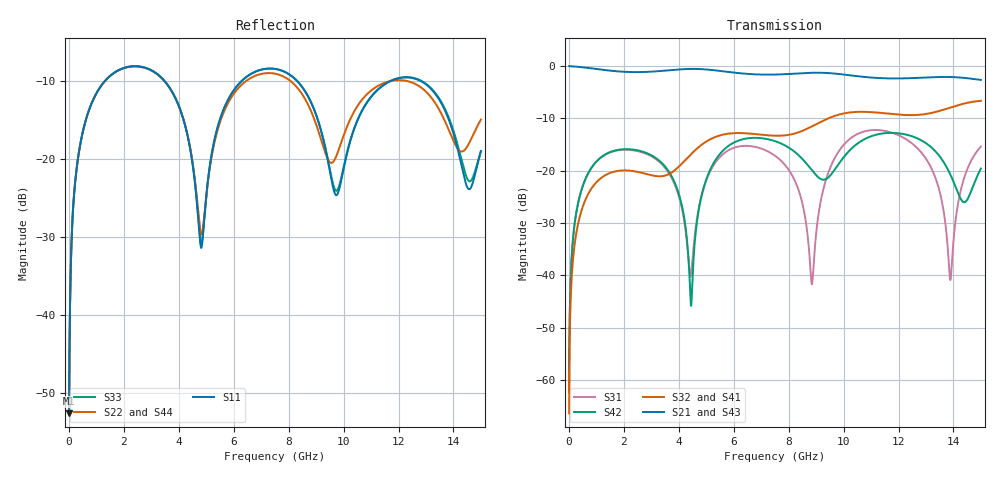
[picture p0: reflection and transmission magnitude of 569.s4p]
! Created with skrf 1.8.0 (http://scikit-rf.org).
# GHz S RI R 50.0
!freq ReS11 ImS11 ReS12 ImS12 ReS13 ImS13
! ReS14 ImS14
! ReS21 ImS21 ReS22 ImS22 ReS23 ImS23
! ReS24 ImS24
! ReS31 ImS31 ReS32 ImS32 ReS33 ImS33
! ReS34 ImS34
! ReS41 ImS41 ReS42 ImS42 ReS43 ImS43
! ReS44 ImS44
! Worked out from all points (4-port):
!   2499 points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, 5 MHz to 15 GHz, reference 50 ohm
!   strongest paths, dB at 5 MHz, 3.476 GHz, 7.19 GHz, 11.1 GHz, 15 GHz:
!     S21: 0.0, -0.9, -1.6, -2.2, -2.6
!     S43: 0.0, -0.9, -1.6, -2.2, -2.6
!     S32: -66.4, -21.0, -13.2, -8.8, -6.6
!     S41: -66.4, -21.0, -13.2, -8.8, -6.6
!     S42: -62.4, -19.1, -13.9, -13.3, -19.6
!     S31: -62.4, -19.3, -16.2, -12.2, -15.4
!   lowest |S11| = -52.6 dB at 5 MHz (marker M1), VSWR 1.00, Z = 50.2 + j0.141 ohm
!   |S11| at or under -10 dB: 3.472 GHz to 6.296 GHz (2.824 GHz wide, 57.8 % of centre); 8.298 GHz to 11.74 GHz (3.437 GHz wide, 34.3 % of centre); 12.79 GHz to end of sweep (the widest 3 of 4)
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0.005  0.00186 0.00141  0.9981 -0.00362  9.46e-05 0.000755  -9.18e-05 -0.000471
       0.9981 -0.00362  0.00186 0.00141  -9.18e-05 -0.000471  9.47e-05 0.000755
       9.46e-05 0.000755  -9.18e-05 -0.000471  0.00186 0.00141  0.9981 -0.00362
       -9.18e-05 -0.000471  9.47e-05 0.000755  0.9981 -0.00362  0.00186 0.00141
1.469362  0.2922 0.1667  0.5 -0.7557  0.1362 0.0587  -0.0945 0.00213
          0.5 -0.7557  0.2908 0.1679  -0.0945 0.00224  0.1399 0.053
          0.1362 0.0587  -0.0945 0.00224  0.2922 0.1668  0.5 -0.7557
          -0.0945 0.00213  0.1399 0.053  0.5 -0.7557  0.2909 0.1679
4.445  0.0487 -0.0956  -0.8881 -0.3066  -0.0101 0.00066  -0.0437 0.1371
       -0.8881 -0.3066  0.0549 -0.0941  -0.0422 0.1376  -0.0051 -0.000134
       -0.0101 0.00066  -0.0422 0.1376  0.0502 -0.0961  -0.8879 -0.3066
       -0.0437 0.1371  -0.0051 -0.000134  -0.8879 -0.3066  0.0541 -0.0953
5.714881  0.1569 0.1601  -0.7651 0.4445  0.1065 0.1075  0.1441 0.1714
          -0.7651 0.4445  0.1509 0.1513  0.146 0.17  0.1426 0.0834
          0.1065 0.1075  0.146 0.17  0.1578 0.1584  -0.7651 0.4448
          0.1441 0.1714  0.1426 0.0834  -0.7651 0.4448  0.1497 0.1517
9.729054  0.0577 -0.00886  0.8399 0.098  0.0441 0.1326  0.0325 -0.3364
          0.8399 0.098  0.0996 0.0278  0.0258 -0.3364  -0.0355 0.101
          0.0441 0.1326  0.0258 -0.3364  0.0614 -0.0101  0.8401 0.0961
          0.0325 -0.3364  -0.0355 0.101  0.8401 0.0961  0.0955 0.0278
13.88704  0.117 -0.1195  -0.6069 -0.5005  -0.00877 -0.00202  -0.25 0.3146
          -0.6069 -0.5005  0.1294 -0.0651  -0.2401 0.3219  -0.0569 -0.0723
          -0.00877 -0.00202  -0.2401 0.3219  0.1224 -0.1223  -0.6088 -0.4968
          -0.25 0.3146  -0.0569 -0.0723  -0.6088 -0.4968  0.128 -0.072
15  0.0882 0.0686  -0.7366 0.0377  0.0931 0.1424  0.0503 0.4635
    -0.7366 0.0377  0.1616 0.0749  0.0639 0.4609  0.0587 0.087
    0.0931 0.1424  0.0639 0.4609  0.0952 0.0591  -0.737 0.0428
    0.0503 0.4635  0.0587 0.087  -0.737 0.0428  0.1543 0.0717
